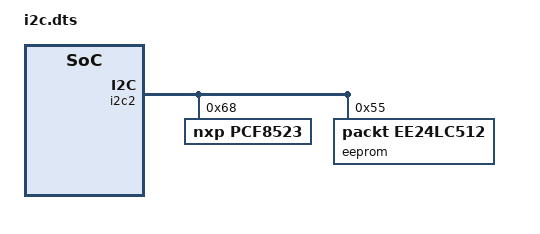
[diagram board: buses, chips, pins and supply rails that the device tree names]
&i2c2 { 											/* Phandle of the bus node */
	pcf8523: rtc@68 {
	compatible = "nxp,pcf8523";
	reg = <0x68>;
	};
eeprom: ee24lc512@55 { 								/* eeprom device */
	compatible = "packt,ee24lc512";
	reg = <0x55>;
	};
};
